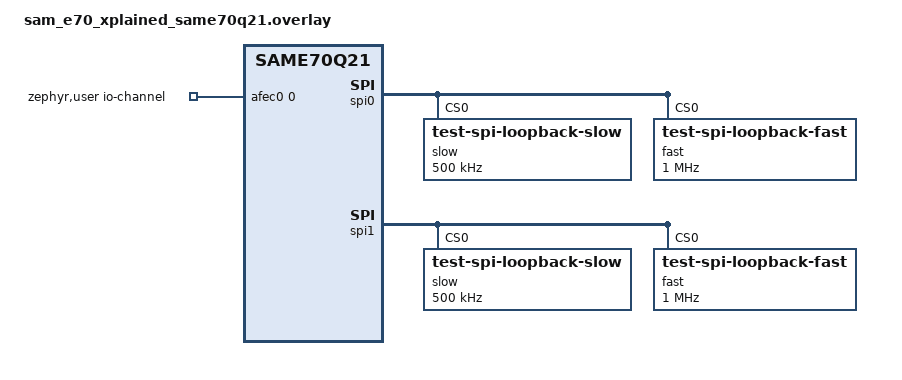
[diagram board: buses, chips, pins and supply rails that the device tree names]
/*
 * Copyright (c) 2022 Intel Corporation
 *
 * SPDX-License-Identifier: Apache-2.0
 */

&spi0 {
	loopback;

	dmas = <&xdmac 1 DMA_PERID_SPI0_TX>, <&xdmac 2 DMA_PERID_SPI0_RX>;
	dma-names = "tx", "rx";

	slow@0 {
		compatible = "test-spi-loopback-slow";
		reg = <0>;
		spi-max-frequency = <500000>;
	};

	fast@0 {
		compatible = "test-spi-loopback-fast";
		reg = <0>;
		spi-max-frequency = <1000000>;
	};
};

&spi1 {
	loopback;

	dmas = <&xdmac 3 DMA_PERID_SPI1_TX>, <&xdmac 4 DMA_PERID_SPI1_RX>;
	dma-names = "tx", "rx";

	slow@0 {
		compatible = "test-spi-loopback-slow";
		reg = <0>;
		spi-max-frequency = <500000>;
	};

	fast@0 {
		compatible = "test-spi-loopback-fast";
		reg = <0>;
		spi-max-frequency = <1000000>;
	};
};

/ {
	zephyr,user {
		io-channels = <&afec0 0>;
	};
};

&afec0 {
	#address-cells = <1>;
	#size-cells = <0>;
	channel@0 {
		reg = <0>;
		zephyr,gain = "ADC_GAIN_1";
		zephyr,reference = "ADC_REF_EXTERNAL0";
		zephyr,acquisition-time = <ADC_ACQ_TIME_DEFAULT>;
		zephyr,resolution = <12>;
	};
};
